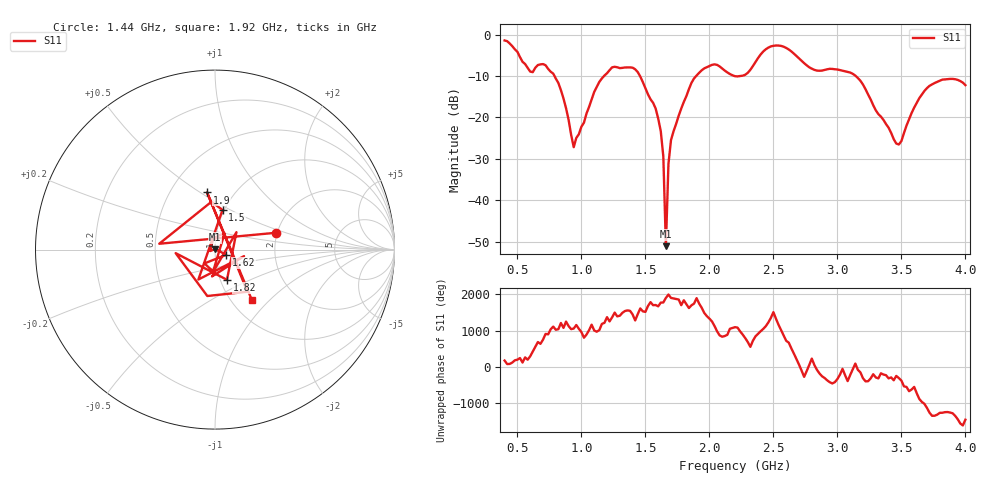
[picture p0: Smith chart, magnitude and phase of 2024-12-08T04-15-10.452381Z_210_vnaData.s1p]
!Created with skrf (http://scikit-rf.org).
# Hz S RI R 50.0
!freq ReS11 ImS11
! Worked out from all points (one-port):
!   181 points, 400 MHz to 4 GHz, reference 50 ohm
!   lowest |S11| = -51.1 dB at 1.66 GHz (marker M1), VSWR 1.01, Z = 49.9 + j0.27 ohm
!   |S11| at or under -10 dB: 790 MHz to 1.176 GHz (386.3 MHz wide, 39.3 % of centre); 1.458 GHz to 1.896 GHz (437.9 MHz wide, 26.1 % of centre); 3.144 GHz to end of sweep (the widest 3 of 4)
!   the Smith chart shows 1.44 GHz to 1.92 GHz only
!   S11 on the Smith chart (normalised r, x): 1.44 GHz: 1.98, +0.42; 1.5 GHz: 0.98, +0.46; 1.62 GHz: 1.13, -0.07; 1.82 GHz: 1.08, -0.37; 1.9 GHz: 0.75, +0.53; 1.92 GHz: 1.24, -0.79
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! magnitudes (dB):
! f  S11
! 400 MHz  -1.4
! 600 MHz  -8.9
! 720 MHz  -7.4
! 860 MHz  -15.4
! 940 MHz  -27.2
! 1.14 GHz  -11.4
! 1.3 GHz  -8.1
! 1.44 GHz  -9.0
! 1.5 GHz  -13.0
! 1.62 GHz  -23.3
! 1.64 GHz  -29.4
! 1.66 GHz  -51.1
! 1.68 GHz  -31.2
! 1.7 GHz  -25.5
! 1.76 GHz  -19.6
! 1.82 GHz  -14.8
! 1.9 GHz  -9.9
! 1.92 GHz  -9.2
! 2.04 GHz  -7.2
! 2.2 GHz  -10.0
! 2.48 GHz  -2.8
! 2.66 GHz  -4.6
! 2.82 GHz  -8.5
! 3.1 GHz  -9.1
! 3.46 GHz  -26.3
! 3.56 GHz  -20.4
! 3.72 GHz  -12.3
! 4 GHz  -12.2
